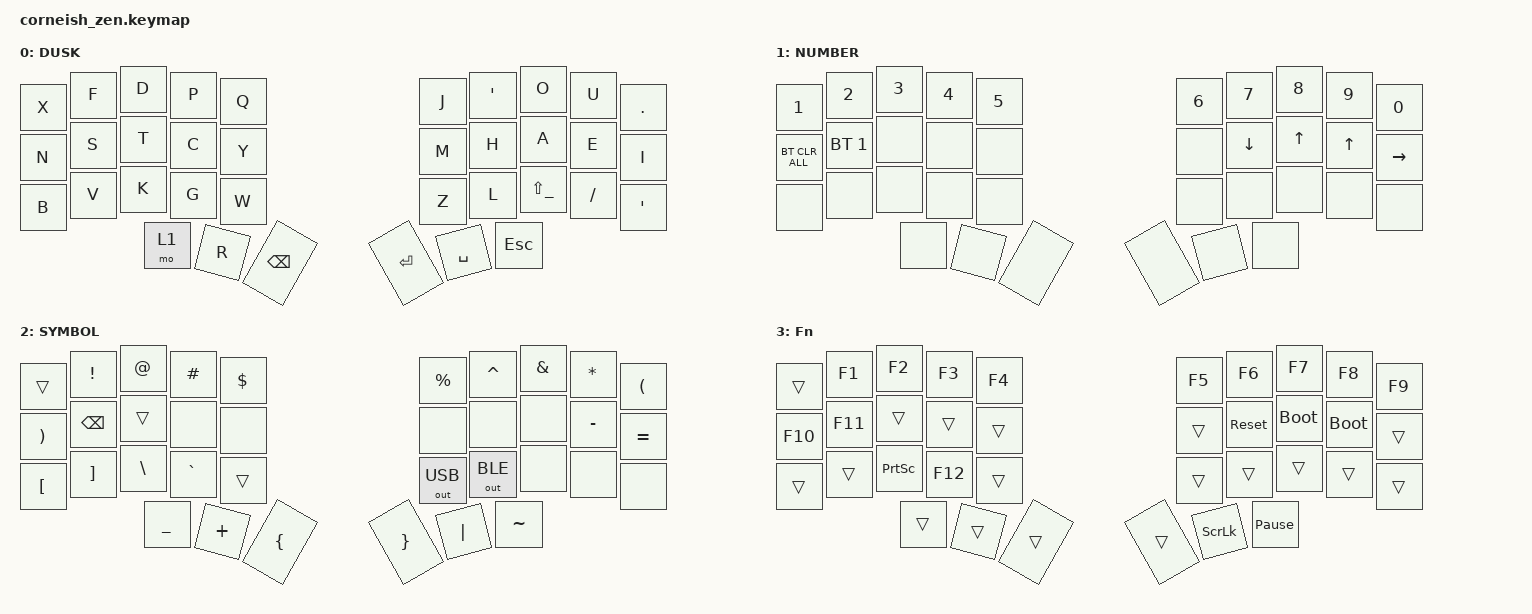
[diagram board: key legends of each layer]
/*
 * Copyright (c) 2020 The ZMK Contributors
 *
 * SPDX-License-Identifier: MIT
 */

#include <behaviors.dtsi>
#include <dt-bindings/zmk/bt.h>
#include <dt-bindings/zmk/keys.h>
#include <dt-bindings/zmk/outputs.h>

/ {
    chosen {
        // zmk,matrix_transform = &default_transform;

        zmk,matrix_transform = &five_column_transform;
    };
};

/ {
    behaviors {
        td0: td0 {
            compatible = "zmk,behavior-tap-dance";
            label = "TD0";
            #binding-cells = <0>;
            bindings = <&kp LEFT_SHIFT>, <&kp CAPS>;
        };
    };

    keymap {
        compatible = "zmk,keymap";

        default_layer {
            display-name = "DUSK";

            // --------------------------------------------------------------------------------
            // |  TAB |  Q  |  W  |  E  |  R  |  T  |   |  Y  |  U   |  I  |  O  |  P  | BKSP |
            // | CTRL |  A  |  S  |  D  |  F  |  G  |   |  H  |  J   |  K  |  L  |  ;  |  '   | 
            // | SHFT |  Z  |  X  |  C  |  V  |  B  |   |  N  |  M   |  ,  |  .  |  /  | ESC  |
            //                    | GUI | LWR | SPC |   | ENT | RSE  | ALT |

            bindings = <
  &kp X  &kp F  &kp D  &kp P  &kp Q       &kp J    &kp SQT    &kp O          &kp U     &kp DOT
  &kp N  &kp S  &kp T  &kp C  &kp Y       &kp M    &kp H      &kp A          &kp E     &kp I
  &kp B  &kp V  &kp K  &kp G  &kp W       &kp Z    &kp L      &kp LS(UNDER)  &kp FSLH  &kp SQT
                &mo 1  &kp R  &kp BSPC    &kp RET  &kp SPACE  &kp ESC
            >;
        };

        lower_layer {
            display-name = "NUMBER";

            // -----------------------------------------------------------------------------------------
            // |  TAB |  1  |  2  |  3  |  4  |  5  |   |  6  |  7  |  8  |  9  |  0  | BKSP |
            // | BTCLR| BT1 | BT2 | BT3 | BT4 | BT5 |   | LFT | DWN |  UP | RGT |     |      |
            // | SHFT |     |     |     |     |     |   |     |     |     |     |     |      |
            //                    | GUI |     | SPC |   | ENT |     | ALT |

            bindings = <
  &kp N1          &kp N2        &kp N3  &kp N4  &kp N5    &kp N6  &kp N7    &kp N8  &kp N9  &kp N0
  &bt BT_CLR_ALL  &bt BT_SEL 1  &none   &none   &none     &none   &kp DOWN  &kp UP  &kp UP  &kp RIGHT
  &none           &none         &none   &none   &none     &none   &none     &none   &none   &none
                                &none   &none   &none     &none   &none     &none
            >;
        };

        raise_layer {
            display-name = "SYMBOL";

            // -----------------------------------------------------------------------------------------
            // |  TAB |  !  |  @  |  #  |  $  |  %  |   |  ^  |  &  |  *  |  (  |  )  | BKSP |
            // | CTRL |     |     |     |     |     |   |  -  |  =  |  [  |  ]  |  \  |  `   |
            // | SHFT |     |     |     |     |     |   |  _  |  +  |  {  |  }  | "|" |  ~   |
            //                    | GUI |     | SPC |   | ENT |     | ALT |

            bindings = <
  &trans    &kp EXCL  &kp AT     &kp HASH   &kp DLLR    &kp PRCNT     &kp CARET     &kp AMPS   &kp ASTRK  &kp LPAR
  &kp RPAR  &kp BSPC  &trans     &none      &none       &none         &none         &none      &kp MINUS  &kp EQUAL
  &kp LBKT  &kp RBKT  &kp BSLH   &kp GRAVE  &trans      &out OUT_USB  &out OUT_BLE  &none      &none      &none
                      &kp UNDER  &kp PLUS   &kp LBRC    &kp RBRC      &kp PIPE      &kp TILDE
            >;
        };

        layer_3 {
            display-name = "Fn";
            bindings = <
  &trans   &kp F1   &kp F2           &kp F3   &kp F4    &kp F5  &kp F6          &kp F7           &kp F8       &kp F9
  &kp F10  &kp F11  &trans           &trans   &trans    &trans  &sys_reset      &bootloader      &bootloader  &trans
  &trans   &trans   &kp PRINTSCREEN  &kp F12  &trans    &trans  &trans          &trans           &trans       &trans
                    &trans           &trans   &trans    &trans  &kp SCROLLLOCK  &kp PAUSE_BREAK
            >;
        };
    };
};
